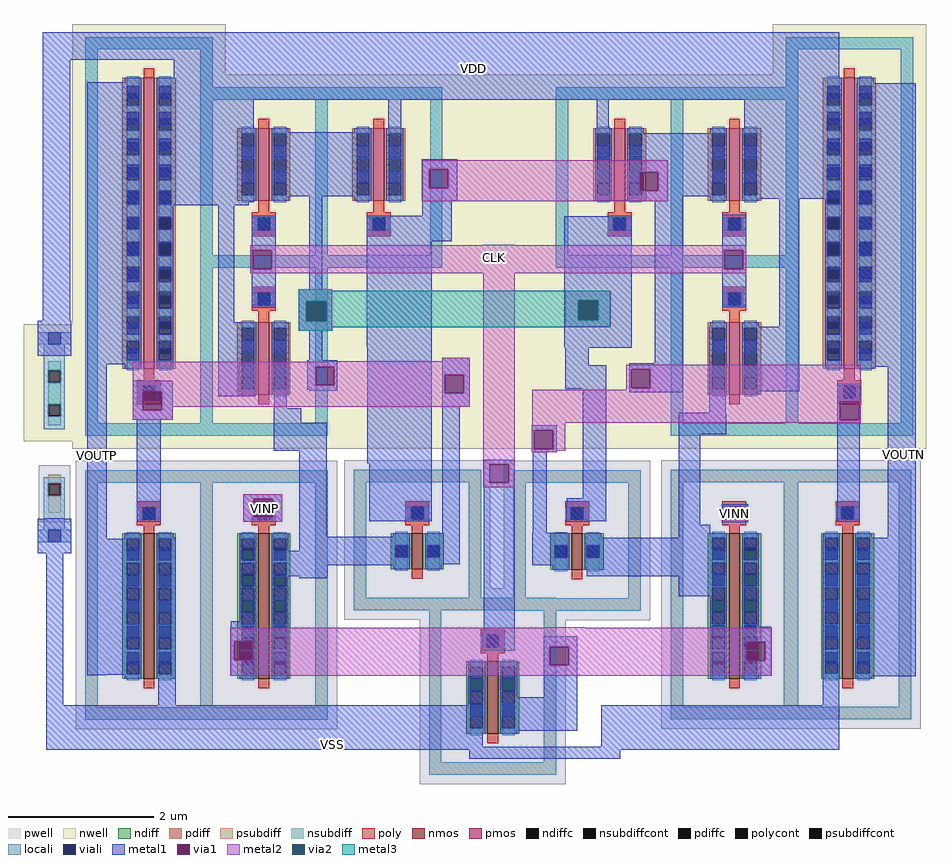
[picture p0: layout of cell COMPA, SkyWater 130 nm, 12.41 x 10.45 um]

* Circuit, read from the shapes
.subckt COMPA VOUTP VDD VOUTN VINN CLK VINP VSS
XM1 VSS n1 VOUTP VSS sky130_fd_pr__nfet_01v8 w=2 l=0.15
XM2 n2 VINP n3 VSS sky130_fd_pr__nfet_01v8 w=2 l=0.15
XM3 n1 n4 n2 VSS sky130_fd_pr__nfet_01v8 w=0.5 l=0.15
XM4 n3 CLK VSS VSS sky130_fd_pr__nfet_01v8 w=1 l=0.15
XM5 n5 n1 n4 VSS sky130_fd_pr__nfet_01v8 w=0.5 l=0.15
XM6 n3 VINN n5 VSS sky130_fd_pr__nfet_01v8 w=2 l=0.15
XM7 VOUTN n4 VSS VSS sky130_fd_pr__nfet_01v8 w=2 l=0.15
XM8 VDD n1 VOUTP VDD sky130_fd_pr__pfet_01v8 w=4 l=0.15
XM9 n2 CLK VDD VDD sky130_fd_pr__pfet_01v8 w=1 l=0.15
XM10 n1 CLK VDD VDD sky130_fd_pr__pfet_01v8 w=1 l=0.15
XM11 VDD n4 n1 VDD sky130_fd_pr__pfet_01v8 w=1 l=0.15
XM12 n4 n1 VDD VDD sky130_fd_pr__pfet_01v8 w=1 l=0.15
XM13 VDD CLK n5 VDD sky130_fd_pr__pfet_01v8 w=1 l=0.15
XM14 VDD CLK n4 VDD sky130_fd_pr__pfet_01v8 w=1 l=0.15
XM15 VOUTN n4 VDD VDD sky130_fd_pr__pfet_01v8 w=4 l=0.15
.ends

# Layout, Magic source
magic
tech sky130B
magscale 1 2
<< nwell >>
rect 433 1466 1546 1758
rect -53 728 2019 1466
<< metal1 >>
rect -134 1798 2056 1874
rect -134 994 -58 1798
rect 226 1748 2056 1798
rect -12 960 131 1736
rect 185 1725 2056 1748
rect 185 1688 2059 1725
rect 185 1421 446 1688
rect 498 1598 610 1599
rect 498 1422 762 1598
rect 185 1407 443 1421
rect 538 1410 542 1422
rect 185 1397 432 1407
rect 349 1076 393 1397
rect 440 1274 507 1369
rect 440 1222 444 1274
rect 496 1222 507 1274
rect 440 1116 507 1222
rect 598 1166 634 1422
rect 816 1421 851 1688
rect 908 1496 1006 1524
rect 908 1444 929 1496
rect 981 1444 1006 1496
rect 908 1410 1006 1444
rect 1389 1420 1422 1688
rect 1475 1489 1743 1595
rect 1475 1437 1507 1489
rect 1559 1437 1743 1489
rect 1475 1423 1743 1437
rect 910 1369 990 1410
rect 1478 1408 1626 1423
rect 1795 1416 2056 1688
rect 757 1298 990 1369
rect 570 1132 662 1166
rect 570 1080 592 1132
rect 644 1080 662 1132
rect -125 23 -78 537
rect -12 481 42 960
rect 113 886 223 915
rect 113 834 141 886
rect 193 834 223 886
rect 349 872 452 1076
rect 502 840 537 1062
rect 541 888 542 1076
rect 570 1052 662 1080
rect 757 1059 935 1298
rect 1300 1135 1485 1368
rect 1300 1083 1340 1135
rect 1392 1083 1485 1135
rect 598 971 634 1052
rect 757 1008 936 1059
rect 593 954 675 971
rect 593 902 616 954
rect 668 902 675 954
rect 593 891 675 902
rect 598 888 675 891
rect 113 808 223 834
rect 124 527 191 808
rect 501 799 577 840
rect 501 723 647 799
rect 417 591 525 603
rect 417 539 446 591
rect 498 539 525 591
rect 417 527 525 539
rect 571 486 647 723
rect 758 688 936 1008
rect 1300 1006 1485 1083
rect 764 529 936 688
rect 964 932 1040 978
rect 964 880 971 932
rect 1023 880 1040 932
rect 1303 957 1367 1006
rect 1549 963 1626 1408
rect 1734 1274 1801 1371
rect 1734 1222 1740 1274
rect 1792 1222 1801 1274
rect 1734 1119 1801 1222
rect 1891 1063 1946 1416
rect 1303 893 1415 957
rect 964 844 1040 880
rect 964 496 1013 844
rect 1210 779 1279 792
rect 1210 727 1218 779
rect 1270 727 1279 779
rect 1210 719 1279 727
rect -12 106 131 481
rect -12 105 42 106
rect 184 23 231 483
rect 571 448 867 486
rect 501 407 867 448
rect 925 411 1013 496
rect 1079 686 1164 698
rect 1079 634 1095 686
rect 1147 634 1164 686
rect 501 377 650 407
rect 571 372 647 377
rect 383 198 448 254
rect 383 146 392 198
rect 444 146 448 198
rect 1079 173 1164 634
rect 1213 497 1252 719
rect 1351 592 1415 893
rect 1478 947 1626 963
rect 1478 895 1484 947
rect 1536 895 1626 947
rect 1478 883 1626 895
rect 1699 827 1744 1063
rect 1795 886 1946 1063
rect 2104 953 2267 1733
rect 2050 859 2113 906
rect 1307 528 1415 592
rect 1615 768 1746 827
rect 2050 807 2058 859
rect 2110 807 2113 859
rect 1615 519 1674 768
rect 1733 526 1806 575
rect 2050 527 2113 807
rect 1212 408 1304 497
rect 1615 483 1702 519
rect 2189 483 2267 953
rect 1362 480 1702 483
rect 1362 377 1744 480
rect 1615 322 1744 377
rect 1243 184 1335 213
rect 383 104 448 146
rect 1243 132 1260 184
rect 1312 132 1335 184
rect 1243 44 1335 132
rect 1795 197 1869 238
rect 1795 145 1801 197
rect 1853 145 1869 197
rect 1795 104 1869 145
rect -125 -91 1076 23
rect 1129 -48 1335 44
rect 2011 23 2056 481
rect 2104 103 2267 483
rect 1402 -91 2056 23
rect -125 -100 2056 -91
rect 1038 -125 1454 -100
<< via1 >>
rect 444 1222 496 1274
rect 929 1444 981 1496
rect 1507 1437 1559 1489
rect 592 1080 644 1132
rect 141 834 193 886
rect 1340 1083 1392 1135
rect 616 902 668 954
rect 446 539 498 591
rect 971 880 1023 932
rect 1740 1222 1792 1274
rect 1218 727 1270 779
rect 1095 634 1147 686
rect 392 146 444 198
rect 1484 895 1536 947
rect 2058 807 2110 859
rect 1260 132 1312 184
rect 1801 145 1853 197
<< metal2 >>
rect 910 1496 1584 1522
rect 910 1444 929 1496
rect 981 1489 1584 1496
rect 981 1444 1507 1489
rect 910 1437 1507 1444
rect 1559 1437 1584 1489
rect 910 1408 1584 1437
rect 1077 1288 1164 1289
rect 436 1274 1801 1288
rect 436 1222 444 1274
rect 496 1222 1740 1274
rect 1792 1222 1801 1274
rect 436 1210 1801 1222
rect 570 1134 662 1166
rect 570 1078 590 1134
rect 646 1078 662 1134
rect 570 1052 662 1078
rect 964 968 1040 978
rect 654 967 1040 968
rect 113 954 1040 967
rect 113 902 616 954
rect 668 932 1040 954
rect 668 902 971 932
rect 113 886 971 902
rect 113 834 141 886
rect 193 880 971 886
rect 1023 880 1040 932
rect 193 844 1040 880
rect 193 843 1012 844
rect 193 834 223 843
rect 113 808 223 834
rect 1077 686 1164 1210
rect 1302 1137 1428 1162
rect 1302 1081 1338 1137
rect 1394 1081 1428 1137
rect 1302 1064 1428 1081
rect 1471 947 2115 959
rect 1471 895 1484 947
rect 1536 895 2115 947
rect 1471 890 2115 895
rect 1212 859 2115 890
rect 1212 807 2058 859
rect 2110 807 2115 859
rect 1212 799 2115 807
rect 1212 792 1303 799
rect 1210 779 1303 792
rect 1210 727 1218 779
rect 1270 727 1303 779
rect 1210 723 1303 727
rect 1210 719 1279 723
rect 1077 634 1095 686
rect 1147 634 1164 686
rect 1077 622 1164 634
rect 417 591 525 603
rect 417 539 446 591
rect 498 539 525 591
rect 417 527 525 539
rect 1248 236 1355 237
rect 382 198 1870 236
rect 382 146 392 198
rect 444 197 1870 198
rect 444 184 1801 197
rect 444 146 1260 184
rect 382 132 1260 146
rect 1312 145 1801 184
rect 1853 145 1870 197
rect 1312 132 1870 145
rect 382 104 1870 132
<< via2 >>
rect 590 1132 646 1134
rect 590 1080 592 1132
rect 592 1080 644 1132
rect 644 1080 646 1132
rect 590 1078 646 1080
rect 1338 1135 1394 1137
rect 1338 1083 1340 1135
rect 1340 1083 1392 1135
rect 1392 1083 1394 1135
rect 1338 1081 1394 1083
<< metal3 >>
rect 570 1162 662 1166
rect 570 1137 1426 1162
rect 570 1134 1338 1137
rect 570 1078 590 1134
rect 646 1081 1338 1134
rect 1394 1081 1426 1137
rect 646 1078 1426 1081
rect 570 1062 1426 1078
rect 570 1052 662 1062
use sky130_fd_pr__nfet_01v8_6H5H3D  sky130_fd_pr__nfet_01v8_6H5H3D_0
transform 1 0 2079 0 1 327
box -201 -369 201 369
use sky130_fd_pr__nfet_01v8_6H5H3D  sky130_fd_pr__nfet_01v8_6H5H3D_1
transform 1 0 1768 0 1 327
box -201 -369 201 369
use sky130_fd_pr__nfet_01v8_6H5H3D  sky130_fd_pr__nfet_01v8_6H5H3D_2
transform 1 0 474 0 1 326
box -201 -369 201 369
use sky130_fd_pr__nfet_01v8_6H5H3D  sky130_fd_pr__nfet_01v8_6H5H3D_3
transform 1 0 158 0 1 326
box -201 -369 201 369
use sky130_fd_pr__nfet_01v8_LDKBCP  sky130_fd_pr__nfet_01v8_LDKBCP_0
transform 1 0 1335 0 1 476
box -201 -219 201 219
use sky130_fd_pr__nfet_01v8_LDKBCP  sky130_fd_pr__nfet_01v8_LDKBCP_1
transform 1 0 896 0 1 477
box -201 -219 201 219
use sky130_fd_pr__nfet_01v8_RB5HKB  sky130_fd_pr__nfet_01v8_RB5HKB_0
transform 1 0 1103 0 1 75
box -201 -269 201 269
use sky130_fd_pr__pfet_01v8_LTABJ9  sky130_fd_pr__pfet_01v8_LTABJ9_0
transform 1 0 2084 0 1 1312
box -211 -584 211 584
use sky130_fd_pr__pfet_01v8_LTABJ9  sky130_fd_pr__pfet_01v8_LTABJ9_1
transform 1 0 158 0 1 1312
box -211 -584 211 584
use sky130_fd_pr__pfet_01v8_LZABJ9  sky130_fd_pr__pfet_01v8_LZABJ9_0
transform -1 0 1768 0 -1 1012
box -211 -284 211 284
use sky130_fd_pr__pfet_01v8_LZABJ9  sky130_fd_pr__pfet_01v8_LZABJ9_1
transform 1 0 1768 0 1 1474
box -211 -284 211 284
use sky130_fd_pr__pfet_01v8_LZABJ9  sky130_fd_pr__pfet_01v8_LZABJ9_2
transform 1 0 1452 0 1 1474
box -211 -284 211 284
use sky130_fd_pr__pfet_01v8_LZABJ9  sky130_fd_pr__pfet_01v8_LZABJ9_3
transform 1 0 474 0 1 1474
box -211 -284 211 284
use sky130_fd_pr__pfet_01v8_LZABJ9  sky130_fd_pr__pfet_01v8_LZABJ9_4
transform -1 0 474 0 -1 1012
box -211 -284 211 284
use sky130_fd_pr__pfet_01v8_LZABJ9  sky130_fd_pr__pfet_01v8_LZABJ9_5
transform 1 0 790 0 1 1474
box -211 -284 211 284
use sky130_fd_sc_hd__tapvpwrvgnd_1  sky130_fd_sc_hd__tapvpwrvgnd_1_0
transform 1 0 -148 0 1 488
box -38 -48 130 592
<< labels >>
flabel metal1 s 15 709 15 709 0 FreeSans 800 0 0 0 VOUTP
port 1 nsew
flabel metal1 s 1050 1773 1050 1773 0 FreeSans 2000 0 0 0 VDD
port 2 nsew
flabel metal1 s 2233 711 2233 711 0 FreeSans 800 0 0 0 VOUTN
port 3 nsew
flabel metal1 s 1768 550 1768 550 0 FreeSans 800 0 0 0 VINN
port 4 nsew
flabel metal2 s 1108 1255 1108 1255 0 FreeSans 800 0 0 0 CLK
port 5 nsew
flabel metal2 s 475 565 475 565 0 FreeSans 800 0 0 0 VINP
port 6 nsew
flabel metal1 s 662 -84 662 -84 0 FreeSans 1200 0 0 0 VSS
port 7 nsew
<< end >>

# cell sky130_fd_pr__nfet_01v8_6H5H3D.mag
magic
tech sky130B
magscale 1 2
<< pwell >>
rect -201 -369 201 369
<< nmos >>
rect -15 -231 15 169
<< ndiff >>
rect -73 156 -15 169
rect -73 122 -61 156
rect -27 122 -15 156
rect -73 88 -15 122
rect -73 54 -61 88
rect -27 54 -15 88
rect -73 20 -15 54
rect -73 -14 -61 20
rect -27 -14 -15 20
rect -73 -48 -15 -14
rect -73 -82 -61 -48
rect -27 -82 -15 -48
rect -73 -116 -15 -82
rect -73 -150 -61 -116
rect -27 -150 -15 -116
rect -73 -184 -15 -150
rect -73 -218 -61 -184
rect -27 -218 -15 -184
rect -73 -231 -15 -218
rect 15 156 73 169
rect 15 122 27 156
rect 61 122 73 156
rect 15 88 73 122
rect 15 54 27 88
rect 61 54 73 88
rect 15 20 73 54
rect 15 -14 27 20
rect 61 -14 73 20
rect 15 -48 73 -14
rect 15 -82 27 -48
rect 61 -82 73 -48
rect 15 -116 73 -82
rect 15 -150 27 -116
rect 61 -150 73 -116
rect 15 -184 73 -150
rect 15 -218 27 -184
rect 61 -218 73 -184
rect 15 -231 73 -218
<< ndiffc >>
rect -61 122 -27 156
rect -61 54 -27 88
rect -61 -14 -27 20
rect -61 -82 -27 -48
rect -61 -150 -27 -116
rect -61 -218 -27 -184
rect 27 122 61 156
rect 27 54 61 88
rect 27 -14 61 20
rect 27 -82 61 -48
rect 27 -150 61 -116
rect 27 -218 61 -184
<< psubdiff >>
rect -175 309 175 343
rect -175 -309 -141 309
rect 141 -309 175 309
rect -175 -343 175 -309
<< poly >>
rect -33 241 33 257
rect -33 207 -17 241
rect 17 207 33 241
rect -33 191 33 207
rect -15 169 15 191
rect -15 -257 15 -231
<< polycont >>
rect -17 207 17 241
<< locali >>
rect -175 309 175 343
rect -175 -309 -141 309
rect -33 207 -17 241
rect 17 207 33 241
rect -61 156 -27 173
rect -61 88 -27 96
rect -61 20 -27 24
rect -61 -86 -27 -82
rect -61 -158 -27 -150
rect -61 -235 -27 -218
rect 27 156 61 173
rect 27 88 61 96
rect 27 20 61 24
rect 27 -86 61 -82
rect 27 -158 61 -150
rect 27 -235 61 -218
rect 141 -309 175 309
rect -175 -343 175 -309
<< viali >>
rect -17 207 17 241
rect -61 122 -27 130
rect -61 96 -27 122
rect -61 54 -27 58
rect -61 24 -27 54
rect -61 -48 -27 -14
rect -61 -116 -27 -86
rect -61 -120 -27 -116
rect -61 -184 -27 -158
rect -61 -192 -27 -184
rect 27 122 61 130
rect 27 96 61 122
rect 27 54 61 58
rect 27 24 61 54
rect 27 -48 61 -14
rect 27 -116 61 -86
rect 27 -120 61 -116
rect 27 -184 61 -158
rect 27 -192 61 -184
<< metal1 >>
rect -29 241 29 247
rect -29 207 -17 241
rect 17 207 29 241
rect -29 201 29 207
rect -67 130 -21 169
rect -67 96 -61 130
rect -27 96 -21 130
rect -67 58 -21 96
rect -67 24 -61 58
rect -27 24 -21 58
rect -67 -14 -21 24
rect -67 -48 -61 -14
rect -27 -48 -21 -14
rect -67 -86 -21 -48
rect -67 -120 -61 -86
rect -27 -120 -21 -86
rect -67 -158 -21 -120
rect -67 -192 -61 -158
rect -27 -192 -21 -158
rect -67 -231 -21 -192
rect 21 130 67 169
rect 21 96 27 130
rect 61 96 67 130
rect 21 58 67 96
rect 21 24 27 58
rect 61 24 67 58
rect 21 -14 67 24
rect 21 -48 27 -14
rect 61 -48 67 -14
rect 21 -86 67 -48
rect 21 -120 27 -86
rect 61 -120 67 -86
rect 21 -158 67 -120
rect 21 -192 27 -158
rect 61 -192 67 -158
rect 21 -231 67 -192
<< properties >>
string FIXED_BBOX -158 -326 158 326
<< end >>

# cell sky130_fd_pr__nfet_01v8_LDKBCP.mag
magic
tech sky130B
magscale 1 2
<< pwell >>
rect -201 -219 201 219
<< nmos >>
rect -15 -81 15 19
<< ndiff >>
rect -73 -14 -15 19
rect -73 -48 -61 -14
rect -27 -48 -15 -14
rect -73 -81 -15 -48
rect 15 -14 73 19
rect 15 -48 27 -14
rect 61 -48 73 -14
rect 15 -81 73 -48
<< ndiffc >>
rect -61 -48 -27 -14
rect 27 -48 61 -14
<< psubdiff >>
rect -175 159 175 193
rect -175 -159 -141 159
rect 141 -159 175 159
rect -175 -193 175 -159
<< poly >>
rect -33 91 33 107
rect -33 57 -17 91
rect 17 57 33 91
rect -33 41 33 57
rect -15 19 15 41
rect -15 -107 15 -81
<< polycont >>
rect -17 57 17 91
<< locali >>
rect -175 159 175 193
rect -175 -159 -141 159
rect -33 57 -17 91
rect 17 57 33 91
rect -61 -14 -27 23
rect -61 -85 -27 -48
rect 27 -14 61 23
rect 27 -85 61 -48
rect 141 -159 175 159
rect -175 -193 175 -159
<< viali >>
rect -17 57 17 91
rect -61 -48 -27 -14
rect 27 -48 61 -14
<< metal1 >>
rect -29 91 29 97
rect -29 57 -17 91
rect 17 57 29 91
rect -29 51 29 57
rect -67 -14 -21 19
rect -67 -48 -61 -14
rect -27 -48 -21 -14
rect -67 -81 -21 -48
rect 21 -14 67 19
rect 21 -48 27 -14
rect 61 -48 67 -14
rect 21 -81 67 -48
<< properties >>
string FIXED_BBOX -158 -176 158 176
<< end >>

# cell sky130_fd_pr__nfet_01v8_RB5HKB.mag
magic
tech sky130B
magscale 1 2
<< pwell >>
rect -201 -269 201 269
<< nmos >>
rect -15 -131 15 69
<< ndiff >>
rect -73 54 -15 69
rect -73 20 -61 54
rect -27 20 -15 54
rect -73 -14 -15 20
rect -73 -48 -61 -14
rect -27 -48 -15 -14
rect -73 -82 -15 -48
rect -73 -116 -61 -82
rect -27 -116 -15 -82
rect -73 -131 -15 -116
rect 15 54 73 69
rect 15 20 27 54
rect 61 20 73 54
rect 15 -14 73 20
rect 15 -48 27 -14
rect 61 -48 73 -14
rect 15 -82 73 -48
rect 15 -116 27 -82
rect 61 -116 73 -82
rect 15 -131 73 -116
<< ndiffc >>
rect -61 20 -27 54
rect -61 -48 -27 -14
rect -61 -116 -27 -82
rect 27 20 61 54
rect 27 -48 61 -14
rect 27 -116 61 -82
<< psubdiff >>
rect -175 209 175 243
rect -175 -209 -141 209
rect 141 -209 175 209
rect -175 -243 175 -209
<< poly >>
rect -33 141 33 157
rect -33 107 -17 141
rect 17 107 33 141
rect -33 91 33 107
rect -15 69 15 91
rect -15 -157 15 -131
<< polycont >>
rect -17 107 17 141
<< locali >>
rect -175 209 175 243
rect -175 -209 -141 209
rect -33 107 -17 141
rect 17 107 33 141
rect -61 54 -27 73
rect -61 -14 -27 -12
rect -61 -50 -27 -48
rect -61 -135 -27 -116
rect 27 54 61 73
rect 27 -14 61 -12
rect 27 -50 61 -48
rect 27 -135 61 -116
rect 141 -209 175 209
rect -175 -243 175 -209
<< viali >>
rect -17 107 17 141
rect -61 20 -27 22
rect -61 -12 -27 20
rect -61 -82 -27 -50
rect -61 -84 -27 -82
rect 27 20 61 22
rect 27 -12 61 20
rect 27 -82 61 -50
rect 27 -84 61 -82
<< metal1 >>
rect -29 141 29 147
rect -29 107 -17 141
rect 17 107 29 141
rect -29 101 29 107
rect -67 22 -21 69
rect -67 -12 -61 22
rect -27 -12 -21 22
rect -67 -50 -21 -12
rect -67 -84 -61 -50
rect -27 -84 -21 -50
rect -67 -131 -21 -84
rect 21 22 67 69
rect 21 -12 27 22
rect 61 -12 67 22
rect 21 -50 67 -12
rect 21 -84 27 -50
rect 61 -84 67 -50
rect 21 -131 67 -84
<< properties >>
string FIXED_BBOX -158 -226 158 226
<< end >>

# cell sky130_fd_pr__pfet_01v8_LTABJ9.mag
magic
tech sky130B
magscale 1 2
<< nwell >>
rect -211 -584 211 584
<< pmos >>
rect -15 -364 15 436
<< pdiff >>
rect -73 393 -15 436
rect -73 359 -61 393
rect -27 359 -15 393
rect -73 325 -15 359
rect -73 291 -61 325
rect -27 291 -15 325
rect -73 257 -15 291
rect -73 223 -61 257
rect -27 223 -15 257
rect -73 189 -15 223
rect -73 155 -61 189
rect -27 155 -15 189
rect -73 121 -15 155
rect -73 87 -61 121
rect -27 87 -15 121
rect -73 53 -15 87
rect -73 19 -61 53
rect -27 19 -15 53
rect -73 -15 -15 19
rect -73 -49 -61 -15
rect -27 -49 -15 -15
rect -73 -83 -15 -49
rect -73 -117 -61 -83
rect -27 -117 -15 -83
rect -73 -151 -15 -117
rect -73 -185 -61 -151
rect -27 -185 -15 -151
rect -73 -219 -15 -185
rect -73 -253 -61 -219
rect -27 -253 -15 -219
rect -73 -287 -15 -253
rect -73 -321 -61 -287
rect -27 -321 -15 -287
rect -73 -364 -15 -321
rect 15 393 73 436
rect 15 359 27 393
rect 61 359 73 393
rect 15 325 73 359
rect 15 291 27 325
rect 61 291 73 325
rect 15 257 73 291
rect 15 223 27 257
rect 61 223 73 257
rect 15 189 73 223
rect 15 155 27 189
rect 61 155 73 189
rect 15 121 73 155
rect 15 87 27 121
rect 61 87 73 121
rect 15 53 73 87
rect 15 19 27 53
rect 61 19 73 53
rect 15 -15 73 19
rect 15 -49 27 -15
rect 61 -49 73 -15
rect 15 -83 73 -49
rect 15 -117 27 -83
rect 61 -117 73 -83
rect 15 -151 73 -117
rect 15 -185 27 -151
rect 61 -185 73 -151
rect 15 -219 73 -185
rect 15 -253 27 -219
rect 61 -253 73 -219
rect 15 -287 73 -253
rect 15 -321 27 -287
rect 61 -321 73 -287
rect 15 -364 73 -321
<< pdiffc >>
rect -61 359 -27 393
rect -61 291 -27 325
rect -61 223 -27 257
rect -61 155 -27 189
rect -61 87 -27 121
rect -61 19 -27 53
rect -61 -49 -27 -15
rect -61 -117 -27 -83
rect -61 -185 -27 -151
rect -61 -253 -27 -219
rect -61 -321 -27 -287
rect 27 359 61 393
rect 27 291 61 325
rect 27 223 61 257
rect 27 155 61 189
rect 27 87 61 121
rect 27 19 61 53
rect 27 -49 61 -15
rect 27 -117 61 -83
rect 27 -185 61 -151
rect 27 -253 61 -219
rect 27 -321 61 -287
<< nsubdiff >>
rect -175 514 175 548
rect -175 -514 -141 514
rect 141 -514 175 514
rect -175 -548 175 -514
<< poly >>
rect -15 436 15 462
rect -15 -395 15 -364
rect -33 -411 33 -395
rect -33 -445 -17 -411
rect 17 -445 33 -411
rect -33 -461 33 -445
<< polycont >>
rect -17 -445 17 -411
<< locali >>
rect -175 514 175 548
rect -175 -514 -141 514
rect -61 413 -27 440
rect -61 341 -27 359
rect -61 269 -27 291
rect -61 197 -27 223
rect -61 125 -27 155
rect -61 53 -27 87
rect -61 -15 -27 19
rect -61 -83 -27 -53
rect -61 -151 -27 -125
rect -61 -219 -27 -197
rect -61 -287 -27 -269
rect -61 -368 -27 -341
rect 27 413 61 440
rect 27 341 61 359
rect 27 269 61 291
rect 27 197 61 223
rect 27 125 61 155
rect 27 53 61 87
rect 27 -15 61 19
rect 27 -83 61 -53
rect 27 -151 61 -125
rect 27 -219 61 -197
rect 27 -287 61 -269
rect 27 -368 61 -341
rect -33 -445 -17 -411
rect 17 -445 33 -411
rect 141 -514 175 514
rect -175 -548 175 -514
<< viali >>
rect -61 393 -27 413
rect -61 379 -27 393
rect -61 325 -27 341
rect -61 307 -27 325
rect -61 257 -27 269
rect -61 235 -27 257
rect -61 189 -27 197
rect -61 163 -27 189
rect -61 121 -27 125
rect -61 91 -27 121
rect -61 19 -27 53
rect -61 -49 -27 -19
rect -61 -53 -27 -49
rect -61 -117 -27 -91
rect -61 -125 -27 -117
rect -61 -185 -27 -163
rect -61 -197 -27 -185
rect -61 -253 -27 -235
rect -61 -269 -27 -253
rect -61 -321 -27 -307
rect -61 -341 -27 -321
rect 27 393 61 413
rect 27 379 61 393
rect 27 325 61 341
rect 27 307 61 325
rect 27 257 61 269
rect 27 235 61 257
rect 27 189 61 197
rect 27 163 61 189
rect 27 121 61 125
rect 27 91 61 121
rect 27 19 61 53
rect 27 -49 61 -19
rect 27 -53 61 -49
rect 27 -117 61 -91
rect 27 -125 61 -117
rect 27 -185 61 -163
rect 27 -197 61 -185
rect 27 -253 61 -235
rect 27 -269 61 -253
rect 27 -321 61 -307
rect 27 -341 61 -321
rect -17 -445 17 -411
<< metal1 >>
rect -67 413 -21 436
rect -67 379 -61 413
rect -27 379 -21 413
rect -67 341 -21 379
rect -67 307 -61 341
rect -27 307 -21 341
rect -67 269 -21 307
rect -67 235 -61 269
rect -27 235 -21 269
rect -67 197 -21 235
rect -67 163 -61 197
rect -27 163 -21 197
rect -67 125 -21 163
rect -67 91 -61 125
rect -27 91 -21 125
rect -67 53 -21 91
rect -67 19 -61 53
rect -27 19 -21 53
rect -67 -19 -21 19
rect -67 -53 -61 -19
rect -27 -53 -21 -19
rect -67 -91 -21 -53
rect -67 -125 -61 -91
rect -27 -125 -21 -91
rect -67 -163 -21 -125
rect -67 -197 -61 -163
rect -27 -197 -21 -163
rect -67 -235 -21 -197
rect -67 -269 -61 -235
rect -27 -269 -21 -235
rect -67 -307 -21 -269
rect -67 -341 -61 -307
rect -27 -341 -21 -307
rect -67 -364 -21 -341
rect 21 413 67 436
rect 21 379 27 413
rect 61 379 67 413
rect 21 341 67 379
rect 21 307 27 341
rect 61 307 67 341
rect 21 269 67 307
rect 21 235 27 269
rect 61 235 67 269
rect 21 197 67 235
rect 21 163 27 197
rect 61 163 67 197
rect 21 125 67 163
rect 21 91 27 125
rect 61 91 67 125
rect 21 53 67 91
rect 21 19 27 53
rect 61 19 67 53
rect 21 -19 67 19
rect 21 -53 27 -19
rect 61 -53 67 -19
rect 21 -91 67 -53
rect 21 -125 27 -91
rect 61 -125 67 -91
rect 21 -163 67 -125
rect 21 -197 27 -163
rect 61 -197 67 -163
rect 21 -235 67 -197
rect 21 -269 27 -235
rect 61 -269 67 -235
rect 21 -307 67 -269
rect 21 -341 27 -307
rect 61 -341 67 -307
rect 21 -364 67 -341
rect -29 -411 29 -405
rect -29 -445 -17 -411
rect 17 -445 29 -411
rect -29 -451 29 -445
<< properties >>
string FIXED_BBOX -158 -531 158 531
<< end >>

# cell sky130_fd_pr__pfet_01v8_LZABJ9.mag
magic
tech sky130B
magscale 1 2
<< nwell >>
rect -211 -284 211 284
<< pmos >>
rect -15 -64 15 136
<< pdiff >>
rect -73 121 -15 136
rect -73 87 -61 121
rect -27 87 -15 121
rect -73 53 -15 87
rect -73 19 -61 53
rect -27 19 -15 53
rect -73 -15 -15 19
rect -73 -49 -61 -15
rect -27 -49 -15 -15
rect -73 -64 -15 -49
rect 15 121 73 136
rect 15 87 27 121
rect 61 87 73 121
rect 15 53 73 87
rect 15 19 27 53
rect 61 19 73 53
rect 15 -15 73 19
rect 15 -49 27 -15
rect 61 -49 73 -15
rect 15 -64 73 -49
<< pdiffc >>
rect -61 87 -27 121
rect -61 19 -27 53
rect -61 -49 -27 -15
rect 27 87 61 121
rect 27 19 61 53
rect 27 -49 61 -15
<< nsubdiff >>
rect -175 214 175 248
rect -175 -214 -141 214
rect 141 -214 175 214
rect -175 -248 175 -214
<< poly >>
rect -15 136 15 162
rect -15 -95 15 -64
rect -33 -111 33 -95
rect -33 -145 -17 -111
rect 17 -145 33 -111
rect -33 -161 33 -145
<< polycont >>
rect -17 -145 17 -111
<< locali >>
rect -175 214 175 248
rect -175 -214 -141 214
rect -61 121 -27 140
rect -61 53 -27 55
rect -61 17 -27 19
rect -61 -68 -27 -49
rect 27 121 61 140
rect 27 53 61 55
rect 27 17 61 19
rect 27 -68 61 -49
rect -33 -145 -17 -111
rect 17 -145 33 -111
rect 141 -214 175 214
rect -175 -248 175 -214
<< viali >>
rect -61 87 -27 89
rect -61 55 -27 87
rect -61 -15 -27 17
rect -61 -17 -27 -15
rect 27 87 61 89
rect 27 55 61 87
rect 27 -15 61 17
rect 27 -17 61 -15
rect -17 -145 17 -111
<< metal1 >>
rect -67 89 -21 136
rect -67 55 -61 89
rect -27 55 -21 89
rect -67 17 -21 55
rect -67 -17 -61 17
rect -27 -17 -21 17
rect -67 -64 -21 -17
rect 21 89 67 136
rect 21 55 27 89
rect 61 55 67 89
rect 21 17 67 55
rect 21 -17 27 17
rect 61 -17 67 17
rect 21 -64 67 -17
rect -29 -111 29 -105
rect -29 -145 -17 -111
rect 17 -145 29 -111
rect -29 -151 29 -145
<< properties >>
string FIXED_BBOX -158 -231 158 231
<< end >>

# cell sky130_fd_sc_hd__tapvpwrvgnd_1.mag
magic
tech sky130B
magscale 1 2
<< nwell >>
rect -38 261 130 582
<< pwell >>
rect 3 38 89 195
<< psubdiff >>
rect 29 145 63 169
rect 29 64 63 111
<< nsubdiff >>
rect 29 456 63 480
rect 29 363 63 422
rect 29 305 63 329
<< psubdiffcont >>
rect 29 111 63 145
<< nsubdiffcont >>
rect 29 422 63 456
rect 29 329 63 363
<< locali >>
rect 0 527 29 561
rect 63 527 92 561
rect 17 456 75 527
rect 17 422 29 456
rect 63 422 75 456
rect 17 363 75 422
rect 17 329 29 363
rect 63 329 75 363
rect 17 294 75 329
rect 17 145 75 162
rect 17 111 29 145
rect 63 111 75 145
rect 17 17 75 111
rect 0 -17 29 17
rect 63 -17 92 17
<< viali >>
rect 29 527 63 561
rect 29 -17 63 17
<< metal1 >>
rect 0 561 92 592
rect 0 527 29 561
rect 63 527 92 561
rect 0 496 92 527
rect 0 17 92 48
rect 0 -17 29 17
rect 63 -17 92 17
rect 0 -48 92 -17
<< labels >>
flabel metal1 s 22 524 75 553 0 FreeSans 200 0 0 0 VPWR
port 1 nsew
flabel metal1 s 21 -18 72 20 0 FreeSans 200 0 0 0 VGND
port 2 nsew
rlabel comment s 0 0 0 0 4 tapvpwrvgnd_1
<< properties >>
string FIXED_BBOX 0 0 92 544
<< end >>
